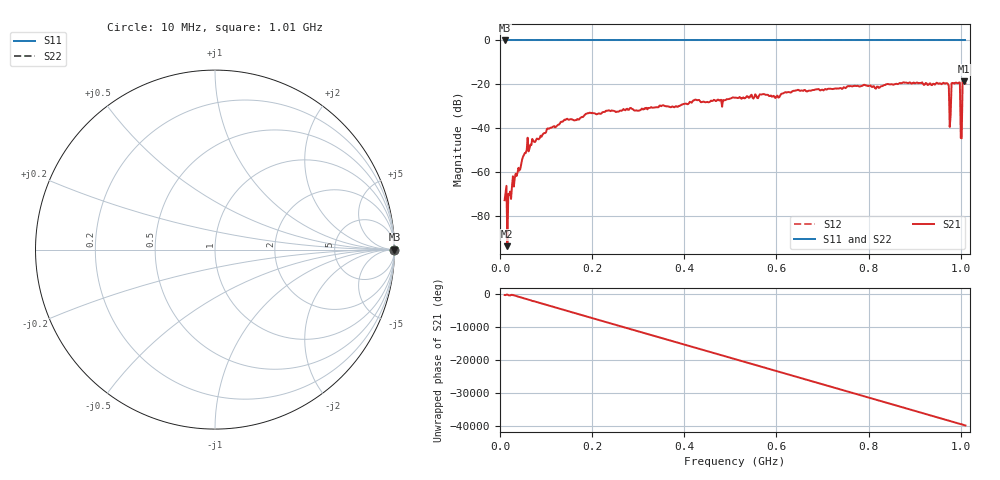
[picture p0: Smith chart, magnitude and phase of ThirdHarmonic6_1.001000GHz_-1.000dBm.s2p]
! 8/16/2025 8:05:31 AM
! C:\ANRITSUVNA\TEMP\TEMP.S2P
! CHANNEL.1
! TR.MEASUREMENT
! RAW.DATA
! RF.CORRECTION.OFF
! AVERAGING.OFF
! IF.BANDWIDTH: 5KHZ
! SWEEPTYPE:  FREQ.SWEEP(Linear)
! Reference Plane Port Info
! PORT:  PORT1  PORT2
! DISTANCE:  0  m  0  m
! TIME:  0  s  0  s
! PHASE.OFFSET:  0  deg.  0  deg.
! LOSS:  0  dB  0  dB
! REF.LOSS:  0  dB  0  dB
! REF.FREQ:  0  Hz  0  Hz
! Power Info
! POWER:  -20  dBm  -20  dBm
! EFF.POWER:  -20  dBm  -20  dBm
! SOURCE.ATTEN:  0  dB  0  dB
! TEST.ATTEN:  0  dB  0  dB
# GHZ S RI R 50.0
! FREQ.GHZ  S11RE  S11IM  S21RE  S21IM  S12RE  S12IM  S22RE  S22IM
!; PortSelection: Port_12
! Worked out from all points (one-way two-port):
!   501 points, 10 MHz to 1.01 GHz, reference 50 ohm
!   highest |S21| = -18.58 dB at 1.006 GHz (marker M1); lowest = -93.6 dB at 16 MHz (marker M2)
!   lowest |S11| = 0.0 dB at 10 MHz (marker M3)
!   |S11| at or under -10 dB: nowhere
!   |S22| runs from 0.0 to 0.0 dB; largest |S21 - S12| = 1.1
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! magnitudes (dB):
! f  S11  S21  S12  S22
! 10 MHz  0.0  -72.7  0.0  0.0
! 16 MHz  0.0  -93.6  0.0  0.0
! 20 MHz  0.0  -70.4  0.0  0.0
! 30 MHz  0.0  -66.5  0.0  0.0
! 56 MHz  0.0  -51.2  0.0  0.0
! 70 MHz  0.0  -44.8  0.0  0.0
! 142 MHz  0.0  -36.2  0.0  0.0
! 178 MHz  0.0  -34.8  0.0  0.0
! 344 MHz  0.0  -30.4  0.0  0.0
! 510 MHz  0.0  -26.0  0.0  0.0
! 678 MHz  0.0  -22.6  0.0  0.0
! 844 MHz  0.0  -19.9  0.0  0.0
! 968 MHz  0.0  -19.5  0.0  0.0
! 976 MHz  0.0  -39.4  0.0  0.0
! 980 MHz  0.0  -19.5  0.0  0.0
! 984 MHz  0.0  -19.5  0.0  0.0
! 994 MHz  0.0  -19.5  0.0  0.0
! 998 MHz  0.0  -19.2  0.0  0.0
! 1.004 GHz  0.0  -18.8  0.0  0.0
! 1.006 GHz  0.0  -18.6  0.0  0.0
! 1.008 GHz  0.0  -19.4  0.0  0.0
! 1.01 GHz  0.0  -19.6  0.0  0.0
